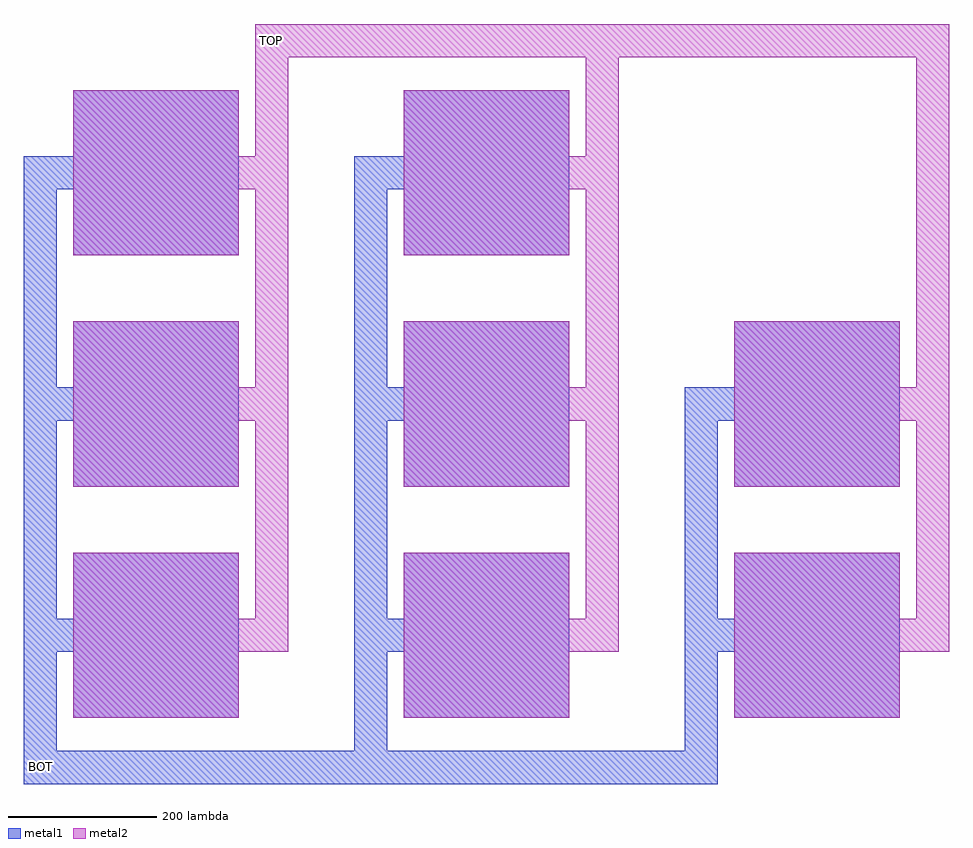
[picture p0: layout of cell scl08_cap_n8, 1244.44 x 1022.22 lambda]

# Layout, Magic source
magic
tech SCL_CP8D
magscale 1 9
<< metal1 >>
rect 0 6800 2000 7600
rect 4000 6800 6000 7600
rect -600 6400 2000 6800
rect -600 4000 -200 6400
rect 0 5600 2000 6400
rect 3400 6400 6000 6800
rect 0 4000 2000 4800
rect -600 3600 2000 4000
rect -600 1200 -200 3600
rect 0 2800 2000 3600
rect 3400 4000 3800 6400
rect 4000 5600 6000 6400
rect 4000 4000 6000 4800
rect 8000 4000 10000 4800
rect 3400 3600 6000 4000
rect 0 1200 2000 2000
rect -600 800 2000 1200
rect -600 -400 -200 800
rect 0 0 2000 800
rect 3400 1200 3800 3600
rect 4000 2800 6000 3600
rect 7400 3600 10000 4000
rect 4000 1200 6000 2000
rect 3400 800 6000 1200
rect 3400 -400 3800 800
rect 4000 0 6000 800
rect 7400 1200 7800 3600
rect 8000 2800 10000 3600
rect 8000 1200 10000 2000
rect 7400 800 10000 1200
rect 7400 -400 7800 800
rect 8000 0 10000 800
rect -600 -800 7800 -400
<< metal2 >>
rect 2200 8000 10600 8400
rect 0 6800 2000 7600
rect 2200 6800 2600 8000
rect 0 6400 2600 6800
rect 0 5600 2000 6400
rect 0 4000 2000 4800
rect 2200 4000 2600 6400
rect 4000 6800 6000 7600
rect 6200 6800 6600 8000
rect 4000 6400 6600 6800
rect 4000 5600 6000 6400
rect 0 3600 2600 4000
rect 0 2800 2000 3600
rect 0 1200 2000 2000
rect 2200 1200 2600 3600
rect 4000 4000 6000 4800
rect 6200 4000 6600 6400
rect 4000 3600 6600 4000
rect 4000 2800 6000 3600
rect 0 800 2600 1200
rect 4000 1200 6000 2000
rect 6200 1200 6600 3600
rect 8000 4000 10000 4800
rect 10200 4000 10600 8000
rect 8000 3600 10600 4000
rect 8000 2800 10000 3600
rect 4000 800 6600 1200
rect 8000 1200 10000 2000
rect 10200 1200 10600 3600
rect 8000 800 10600 1200
rect 0 0 2000 800
rect 4000 0 6000 800
rect 8000 0 10000 800
<< labels >>
rlabel metal1 s -396 -594 -396 -594 4 BOT
port 1 nsew
rlabel metal2 s 2394 8199 2394 8199 4 TOP
port 2 nsew
<< end >>
